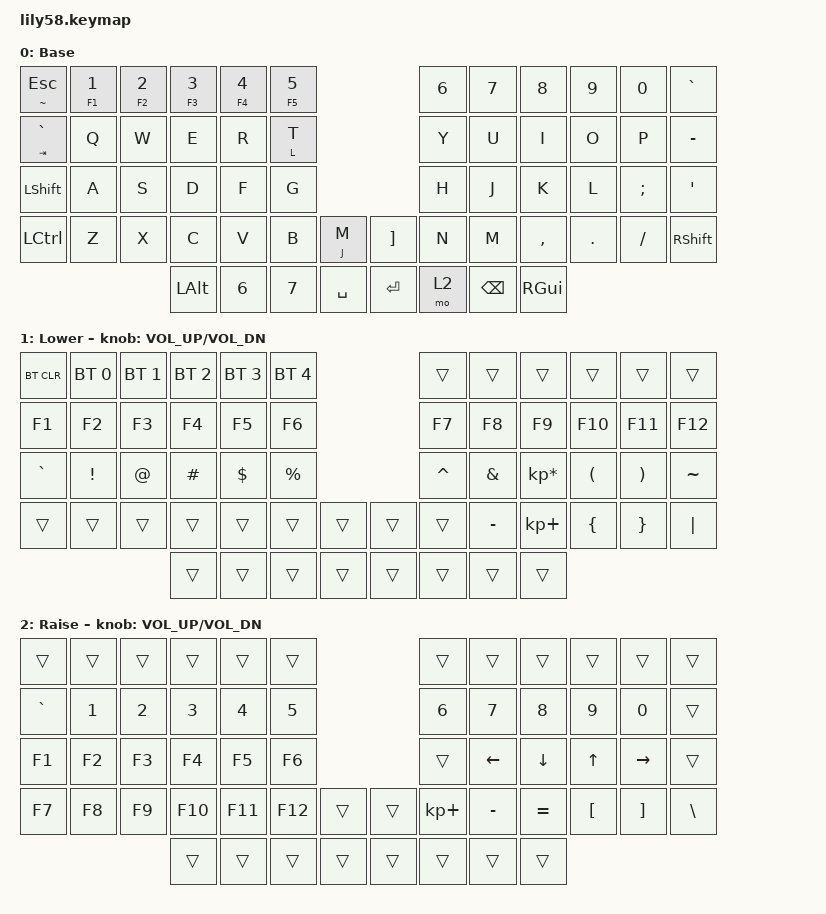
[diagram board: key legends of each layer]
/*
 * Copyright (c) 2020 The ZMK Contributors
 *
 * SPDX-License-Identifier: MIT
 */

#include <behaviors.dtsi>
#include <dt-bindings/zmk/bt.h>
#include <dt-bindings/zmk/keys.h>

/ {
    behaviors {
        ht: ht {
            compatible = "zmk,behavior-hold-tap";
            label = "HT";
            #binding-cells = <2>;
            tapping-term-ms = <200>;
            flavor = "tap-preferred";
            hold-trigger-key-positions = <12 0 1 2 3 4 5 17 42>;
            bindings = <&kp>, <&kp>;
        };
    };

    keymap {
        compatible = "zmk,keymap";

        default_layer {
            // ------------------------------------------------------------------------------------------------------------
            // |  ESC  |  1  |  2  |  3   |  4   |  5   |                   |  6   |  7    |  8    |  9   |   0   |   `   |
            // |  TAB  |  Q  |  W  |  E   |  R   |  T   |                   |  Y   |  U    |  I    |  O   |   P   |   -   |
            // |  CTRL |  A  |  S  |  D   |  F   |  G   |                   |  H   |  J    |  K    |  L   |   ;   |   '   |
            // | SHIFT |  Z  |  X  |  C   |  V   |  B   |   "["  |  |  "]"  |  N   |  M    |  ,    |  .   |   /   | SHIFT |
            //                     | ALT  | GUI  | LOWER|  SPACE |  | ENTER | RAISE| BSPC  | GUI   |

            display-name = "Base";
            bindings = <
&ht TILDE ESC     &ht F1 N1  &ht F2 N2  &ht F3 N3  &ht F4 N4  &ht F5 N5                         &kp N6  &kp N7    &kp N8     &kp N9   &kp N0    &kp GRAVE
&ht TAB GRAVE     &kp Q      &kp W      &kp E      &kp R      &ht L T                           &kp Y   &kp U     &kp I      &kp O    &kp P     &kp MINUS
&kp LEFT_SHIFT    &kp A      &kp S      &kp D      &kp F      &kp G                             &kp H   &kp J     &kp K      &kp L    &kp SEMI  &kp SQT
&kp LEFT_CONTROL  &kp Z      &kp X      &kp C      &kp V      &kp B      &ht J M      &kp RBKT  &kp N   &kp M     &kp COMMA  &kp DOT  &kp FSLH  &kp RSHFT
                                        &kp LALT   &kp N6     &kp N7     &kp SPACE    &kp RET   &mo 2   &kp BSPC  &kp RGUI
            >;
        };

        lower_layer {
            // ------------------------------------------------------------------------------------------------------------
            // | BTCLR | BT1 | BT2 |  BT3 |  BT4 |  BT5 |                   |      |       |       |      |       |       |
            // |  F1   |  F2 |  F3 |  F4  |  F5  |  F6  |                   |  F7  |  F8   |  F9   |  F10 |  F11  |  F12  |
            // |   `   |  !  |  @  |  #   |  $   |  %   |                   |  ^   |  &    |  *    |  (   |   )   |   ~   |
            // |       |     |     |      |      |      |        |  |       |      |  _    |  +    |  {   |   }   |  "|"  |
            //                     |      |      |      |        |  |       |      |       |       |

            display-name = "Lower";
            bindings = <
&bt BT_CLR  &bt BT_SEL 0  &bt BT_SEL 1  &bt BT_SEL 2  &bt BT_SEL 3  &bt BT_SEL 4                    &trans     &trans     &trans           &trans    &trans    &trans
&kp F1      &kp F2        &kp F3        &kp F4        &kp F5        &kp F6                          &kp F7     &kp F8     &kp F9           &kp F10   &kp F11   &kp F12
&kp GRAVE   &kp EXCL      &kp AT        &kp HASH      &kp DOLLAR    &kp PRCNT                       &kp CARET  &kp AMPS   &kp KP_MULTIPLY  &kp LPAR  &kp RPAR  &kp TILDE
&trans      &trans        &trans        &trans        &trans        &trans        &trans    &trans  &trans     &kp MINUS  &kp KP_PLUS      &kp LBRC  &kp RBRC  &kp PIPE
                                        &trans        &trans        &trans        &trans    &trans  &trans     &trans     &trans
            >;

            sensor-bindings = <&inc_dec_kp C_VOL_UP C_VOL_DN>;
        };

        raise_layer {
            // ------------------------------------------------------------------------------------------------------------
            // |       |     |     |      |      |      |                   |      |       |       |      |       |       |
            // |   `   |  1  |  2  |  3   |  4   |  5   |                   |  6   |   7   |   8   |  9   |   0   |       |
            // |   F1  |  F2 |  F3 |  F4  |  F5  |  F6  |                   |      |   <-  |   v   |  ^   |  ->   |       |
            // |   F7  |  F8 |  F9 |  F10 |  F11 |  F12 |        |  |       |  +   |   -   |   =   |  [   |   ]   |   \   |
            //                     |      |      |      |        |  |       |      |       |       |

            display-name = "Raise";
            bindings = <
&trans     &trans  &trans  &trans   &trans   &trans                     &trans       &trans     &trans     &trans    &trans     &trans
&kp GRAVE  &kp N1  &kp N2  &kp N3   &kp N4   &kp N5                     &kp N6       &kp N7     &kp N8     &kp N9    &kp N0     &trans
&kp F1     &kp F2  &kp F3  &kp F4   &kp F5   &kp F6                     &trans       &kp LEFT   &kp DOWN   &kp UP    &kp RIGHT  &trans
&kp F7     &kp F8  &kp F9  &kp F10  &kp F11  &kp F12  &trans    &trans  &kp KP_PLUS  &kp MINUS  &kp EQUAL  &kp LBKT  &kp RBKT   &kp BSLH
                           &trans   &trans   &trans   &trans    &trans  &trans       &trans     &trans
            >;

            sensor-bindings = <&inc_dec_kp C_VOL_UP C_VOL_DN>;
        };

        extra_1 { status = "reserved"; };

        extra_2 { status = "reserved"; };

        extra_3 { status = "reserved"; };
    };
};
